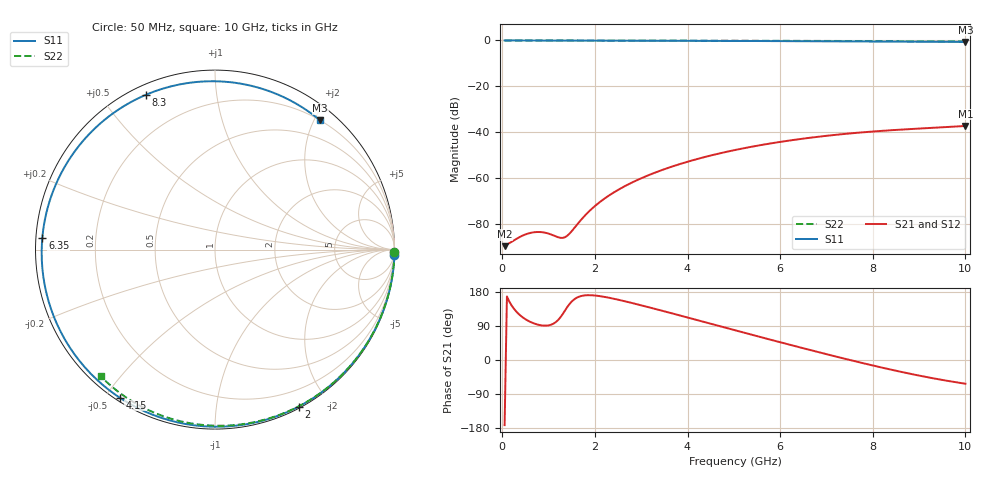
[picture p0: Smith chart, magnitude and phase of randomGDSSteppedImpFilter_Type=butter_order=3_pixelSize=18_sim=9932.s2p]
! freq	dB(S11)	phase(S11)	dB(S12)	phase(S12)
!  dB(S21)	phase(S21)	dB(S22)	phase(S22)
!S-par simulation data
#  GHz  S  DB  R 50
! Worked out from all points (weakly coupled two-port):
!   200 points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, 50 MHz to 10 GHz, reference 50 ohm
!   highest |S21| = -37.36 dB at 10 GHz (marker M1); lowest = -89.9 dB at 50 MHz (marker M2)
!   lowest |S11| = -0.7 dB at 10 GHz (marker M3), VSWR 26.67, Z = 10.1 + j104 ohm
!   |S11| at or under -10 dB: nowhere
!   |S22| runs from -0.4 to 0.0 dB; largest |S21 - S12| = 0
!   S11 on the Smith chart (normalised r, x): 50 MHz: 0, -72; 2 GHz: 0.02, -1.67; 4.15 GHz: 0.01, -0.54; 6.35 GHz: 0.02, +0.03; 8.3 GHz: 0.04, +0.65; 10 GHz: 0.20, +2.09
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0.05  -0.00 -1.6  -89.87 -171.9  -89.87 -171.9  -0.00 -0.8
0.8  -0.03 -25.3  -83.68 92.4  -83.68 92.4  -0.01 -12.2
1.6  -0.06 -49.9  -80.80 163.9  -80.80 163.9  -0.03 -24.1
1.65  -0.06 -51.5  -79.57 166.8  -79.57 166.8  -0.03 -24.9
1.75  -0.07 -54.5  -77.24 170.0  -77.24 170.0  -0.03 -26.4
2  -0.08 -61.9  -72.33 170.2  -72.33 170.2  -0.04 -30.0
2.3  -0.09 -70.8  -67.78 164.4  -67.78 164.4  -0.04 -34.4
2.6  -0.10 -79.5  -64.15 156.4  -64.15 156.4  -0.05 -38.8
3.4  -0.13 -102.2  -56.97 131.7  -56.97 131.7  -0.07 -50.2
4.15  -0.17 -122.8  -52.12 107.3  -52.12 107.3  -0.08 -60.6
5.05  -0.22 -147.4  -47.75 77.7  -47.75 77.7  -0.11 -72.6
5.7  -0.26 -165.3  -45.29 56.5  -45.29 56.5  -0.13 -81.0
6.35  -0.32 176.1  -43.29 35.7  -43.29 35.7  -0.16 -89.2
6.7  -0.35 165.8  -42.37 24.7  -42.37 24.7  -0.18 -93.6
7.1  -0.38 153.6  -41.43 12.3  -41.43 12.3  -0.20 -98.4
7.5  -0.42 140.9  -40.63 0.2  -40.63 0.2  -0.23 -103.2
8.3  -0.50 114.0  -39.34 -22.9  -39.34 -22.9  -0.28 -112.7
8.35  -0.50 112.2  -39.28 -24.3  -39.28 -24.3  -0.29 -113.3
8.8  -0.54 96.0  -38.72 -36.2  -38.72 -36.2  -0.33 -118.5
9.2  -0.58 81.2  -38.28 -45.9  -38.28 -45.9  -0.36 -123.0
9.6  -0.61 66.1  -37.84 -54.7  -37.84 -54.7  -0.40 -127.6
10  -0.65 50.9  -37.36 -62.6  -37.36 -62.6  -0.44 -132.1
